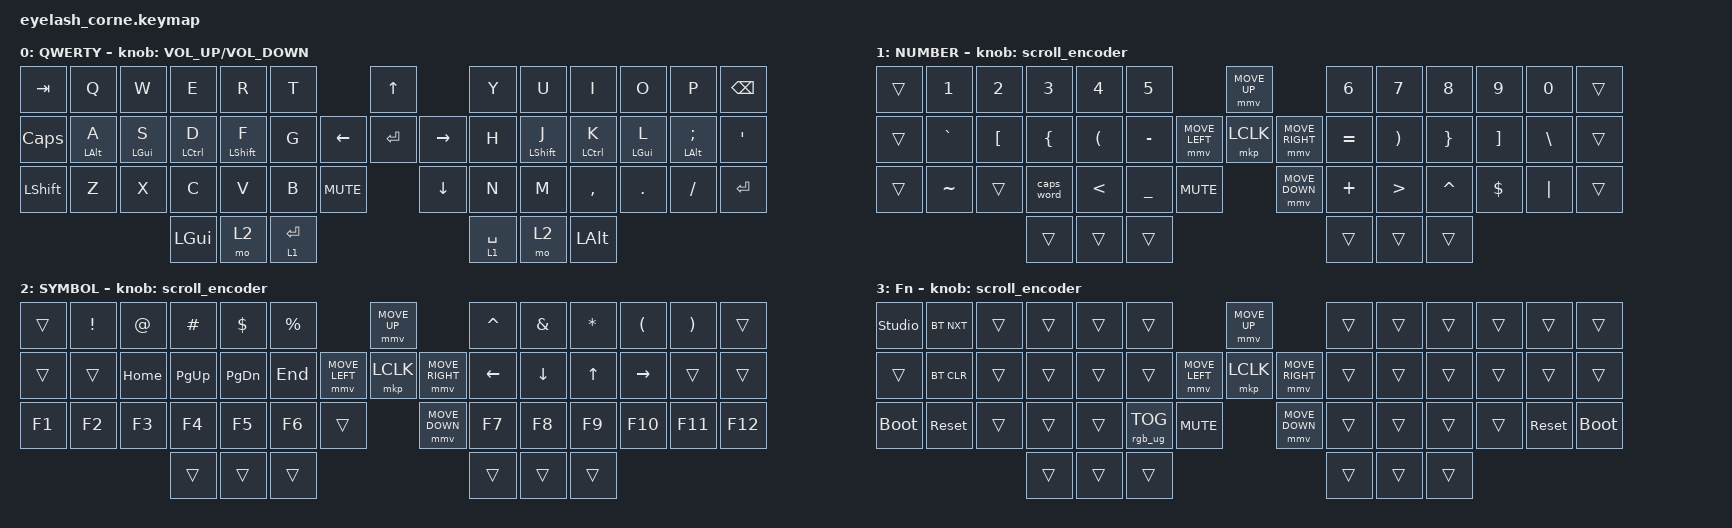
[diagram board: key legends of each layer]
#define ZMK_POINTING_DEFAULT_MOVE_VAL 1200  // 600
#define ZMK_POINTING_DEFAULT_SCRL_VAL 25   // 10

#include <input/processors.dtsi>
#include <zephyr/dt-bindings/input/input-event-codes.h>
#include <behaviors.dtsi>
#include <dt-bindings/zmk/bt.h>
#include <dt-bindings/zmk/ext_power.h>
#include <dt-bindings/zmk/keys.h>
#include <dt-bindings/zmk/outputs.h>
#include <dt-bindings/zmk/pointing.h>
#include <dt-bindings/zmk/rgb.h>

&mmv_input_listener { input-processors = <&zip_xy_scaler 2 1>; };

&msc_input_listener { input-processors = <&zip_scroll_scaler 2 1>; };

&msc {
    acceleration-exponent = <1>;      // 0
    time-to-max-speed-ms = <100>;       // 300
    delay-ms = <0>;                   // 0
};

&mmv {
    time-to-max-speed-ms = <500>;
    acceleration-exponent = <1>;
    trigger-period-ms = <16>;
};


/ {
    behaviors {
        td0: td0 {
            compatible = "zmk,behavior-tap-dance";
            display-name = "Shift/Caps Lock Tap Dance";
            #binding-cells = <0>;
            bindings = <&kp LEFT_SHIFT>, <&kp CAPS>;
        };

        hm: homerow_mods {
            compatible = "zmk,behavior-hold-tap";
            label = "HOMEROW_MODS";
            bindings = <&kp>, <&kp>;

            #binding-cells = <2>;
            tapping-term-ms = <200>;
            flavor = "tap-preferred";
            require-prior-idle-ms = <125>;
            quick-tap-ms = <200>;
        };

        shifthr: shifthr {
            compatible = "zmk,behavior-hold-tap";
            label = "SHIFTHR";
            bindings = <&kp>, <&kp>;

            #binding-cells = <2>;
            tapping-term-ms = <185>;
            flavor = "tap-preferred";
            quick-tap-ms = <185>;
        };

        weak: weak {
            compatible = "zmk,behavior-hold-tap";
            label = "WEAK";
            bindings = <&kp>, <&kp>;

            #binding-cells = <2>;
            tapping-term-ms = <230>;
            flavor = "tap-preferred";
            require-prior-idle-ms = <125>;
            quick-tap-ms = <230>;
        };

        backspace: backspace {
            compatible = "zmk,behavior-tap-dance";
            label = "BACKSPACE";
            #binding-cells = <0>;
            bindings = <&kp BACKSPACE>, <&kp LC(BACKSPACE)>;
        };
    };

    rgb_encoder: rgb_encoder {
        compatible = "zmk,behavior-sensor-rotate";
        #sensor-binding-cells = <0>;
        bindings = <&rgb_ug RGB_BRI>, <&rgb_ug RGB_BRD>;
    };

    scroll_encoder: scroll_encoder {
        compatible = "zmk,behavior-sensor-rotate";
        #sensor-binding-cells = <0>;
        bindings = <&msc SCRL_DOWN>, <&msc SCRL_UP>;
        tap-ms = <100>;
    };

    keymap {
        compatible = "zmk,keymap";

        default_layer {
            display-name = "QWERTY";
            bindings = <
&kp TAB       &kp Q           &kp W           &kp E               &kp R             &kp T                                &kp UP                &kp Y        &kp U             &kp I               &kp O           &kp P                   &kp BSPC
&kp CAPSLOCK  &hm LEFT_ALT A  &hm LEFT_GUI S  &hm LEFT_CONTROL D  &hm LEFT_SHIFT F  &kp G                      &kp LEFT  &kp ENTER  &kp RIGHT  &kp H        &hm LEFT_SHIFT J  &hm LEFT_CONTROL K  &hm LEFT_GUI L  &hm LEFT_ALT SEMICOLON  &kp SQT
&kp LSHIFT    &kp Z           &kp X           &kp C               &kp V             &kp B        &kp C_MUTE              &kp DOWN              &kp N        &kp M             &kp COMMA           &kp DOT         &kp FSLH                &kp ENTER
                                              &kp LGUI            &mo 2             &lt 1 ENTER                                                &lt 1 SPACE  &mo 2             &kp LEFT_ALT
            >;

            sensor-bindings = <&inc_dec_kp C_VOLUME_UP C_VOLUME_DOWN>;
        };

        lower_layer {
            display-name = "NUMBER";
            bindings = <
&trans  &kp N1     &kp N2    &kp N3          &kp N4                &kp N5                                        &mmv MOVE_UP                     &kp N6     &kp N7                 &kp N8           &kp N9      &kp N0    &trans
&trans  &kp GRAVE  &kp LBKT  &kp LEFT_BRACE  &kp LEFT_PARENTHESIS  &kp MINUS                     &mmv MOVE_LEFT  &mkp LCLK       &mmv MOVE_RIGHT  &kp EQUAL  &kp RIGHT_PARENTHESIS  &kp RIGHT_BRACE  &kp RBKT    &kp BSLH  &trans
&trans  &kp TILDE  &trans    &caps_word      &kp LESS_THAN         &kp UNDERSCORE  &kp C_MUTE                    &mmv MOVE_DOWN                   &kp PLUS   &kp GREATER_THAN       &kp CARET        &kp DOLLAR  &kp PIPE  &trans
                             &trans          &trans                &trans                                                                         &trans     &trans                 &trans
            >;

            sensor-bindings = <&scroll_encoder>;
        };

        raise_layer {
            display-name = "SYMBOL";
            bindings = <
&trans  &kp EXCL  &kp AT    &kp HASH     &kp DLLR       &kp PRCNT                            &mmv MOVE_UP                     &kp CARET  &kp AMPS  &kp ASTRK     &kp LPAR   &kp RPAR  &trans
&trans  &trans    &kp HOME  &kp PAGE_UP  &kp PAGE_DOWN  &kp END              &mmv MOVE_LEFT  &mkp LCLK       &mmv MOVE_RIGHT  &kp LEFT   &kp DOWN  &kp UP_ARROW  &kp RIGHT  &trans    &trans
&kp F1  &kp F2    &kp F3    &kp F4       &kp F5         &kp F6     &trans                    &mmv MOVE_DOWN                   &kp F7     &kp F8    &kp F9        &kp F10    &kp F11   &kp F12
                            &trans       &trans         &trans                                                                &trans     &trans    &trans
            >;

            sensor-bindings = <&scroll_encoder>;
        };

        layer_3 {
            display-name = "Fn";
            bindings = <
&studio_unlock  &bt BT_NXT  &trans  &trans  &trans  &trans                                         &mmv MOVE_UP                     &trans  &trans  &trans  &trans  &trans      &trans
&trans          &bt BT_CLR  &trans  &trans  &trans  &trans                         &mmv MOVE_LEFT  &mkp LCLK       &mmv MOVE_RIGHT  &trans  &trans  &trans  &trans  &trans      &trans
&bootloader     &sys_reset  &trans  &trans  &trans  &rgb_ug RGB_TOG  &kp C_MUTE                    &mmv MOVE_DOWN                   &trans  &trans  &trans  &trans  &sys_reset  &bootloader
                                    &trans  &trans  &trans                                                                          &trans  &trans  &trans
            >;

            sensor-bindings = <&scroll_encoder>;
        };
    };

    conditional_layers {
        compatible = "zmk,conditional-layers";

        fn {
            if-layers = <2 1>;
            then-layer = <3>;
        };
    };
};
